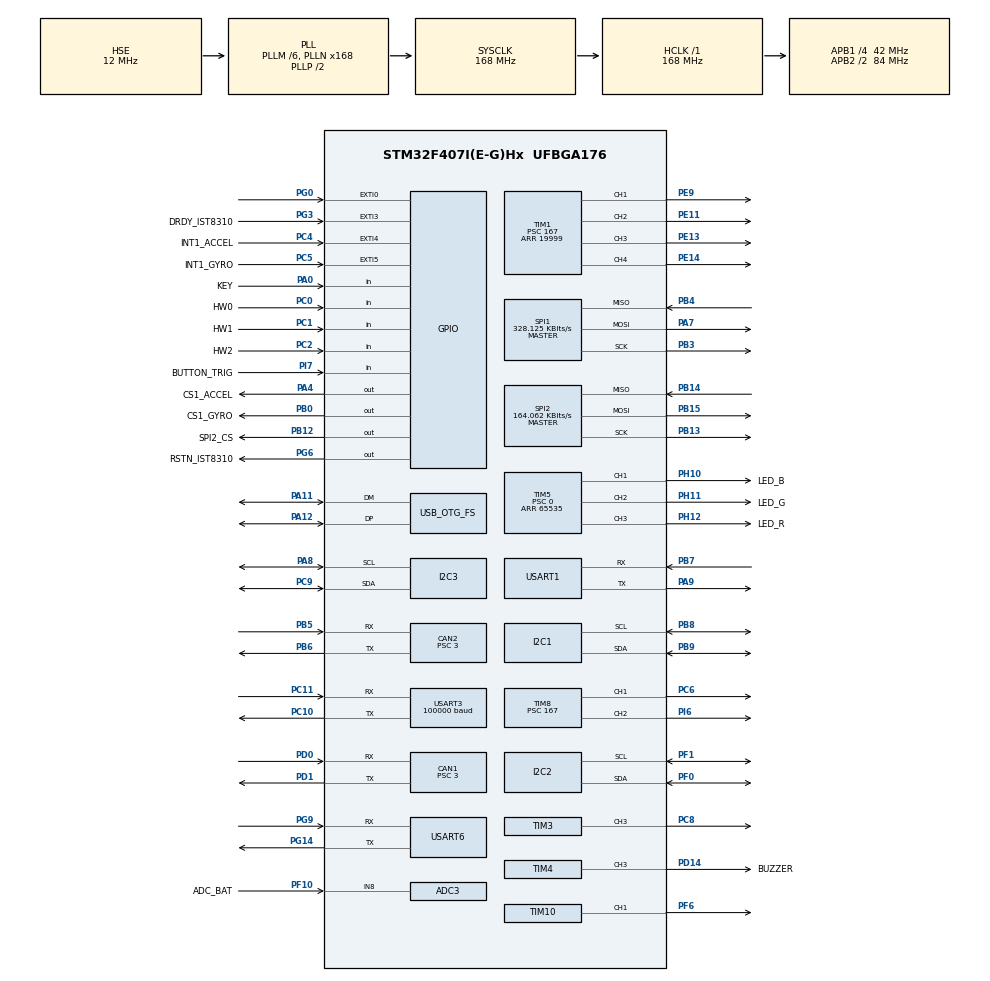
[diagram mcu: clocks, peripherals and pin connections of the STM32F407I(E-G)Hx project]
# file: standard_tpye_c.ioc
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ADC1.Channel-0\#ChannelRegularConversion=ADC_CHANNEL_TEMPSENSOR
ADC1.ClockPrescaler=ADC_CLOCK_SYNC_PCLK_DIV6
ADC1.NbrOfConversionFlag=1
ADC1.Rank-0\#ChannelRegularConversion=1
ADC1.SamplingTime-0\#ChannelRegularConversion=ADC_SAMPLETIME_3CYCLES
ADC1.master=1
ADC3.Channel-0\#ChannelRegularConversion=ADC_CHANNEL_8
ADC3.ClockPrescaler=ADC_CLOCK_SYNC_PCLK_DIV6
ADC3.NbrOfConversionFlag=1
ADC3.Rank-0\#ChannelRegularConversion=1
ADC3.SamplingTime-0\#ChannelRegularConversion=ADC_SAMPLETIME_3CYCLES
CAN1.BS1=CAN_BS1_10TQ
CAN1.BS2=CAN_BS2_3TQ
CAN1.CalculateBaudRate=1000000
CAN1.CalculateTimeQuantum=71.42857142857143
CAN1.Prescaler=3
CAN2.BS1=CAN_BS1_10TQ
CAN2.BS2=CAN_BS2_3TQ
CAN2.CalculateBaudRate=1000000
CAN2.CalculateTimeQuantum=71.42857142857143
CAN2.Prescaler=3
Dma.I2C2_TX.2.Direction=DMA_MEMORY_TO_PERIPH
Dma.I2C2_TX.2.FIFOMode=DMA_FIFOMODE_DISABLE
Dma.I2C2_TX.2.Instance=DMA1_Stream7
Dma.I2C2_TX.2.MemDataAlignment=DMA_MDATAALIGN_BYTE
Dma.I2C2_TX.2.MemInc=DMA_MINC_ENABLE
Dma.I2C2_TX.2.Mode=DMA_NORMAL
Dma.I2C2_TX.2.PeriphDataAlignment=DMA_PDATAALIGN_BYTE
Dma.I2C2_TX.2.PeriphInc=DMA_PINC_DISABLE
Dma.I2C2_TX.2.Priority=DMA_PRIORITY_HIGH
Dma.Request0=SPI1_RX
Dma.Request1=SPI1_TX
Dma.Request2=I2C2_TX
Dma.Request3=USART3_RX
Dma.Request4=USART6_RX
Dma.Request5=USART6_TX
Dma.Request6=USART1_RX
Dma.Request7=USART1_TX
Dma.SPI1_RX.0.Direction=DMA_PERIPH_TO_MEMORY
Dma.SPI1_RX.0.FIFOMode=DMA_FIFOMODE_DISABLE
Dma.SPI1_RX.0.Instance=DMA2_Stream2
Dma.SPI1_RX.0.MemDataAlignment=DMA_MDATAALIGN_BYTE
Dma.SPI1_RX.0.MemInc=DMA_MINC_ENABLE
Dma.SPI1_RX.0.Mode=DMA_NORMAL
Dma.SPI1_RX.0.PeriphDataAlignment=DMA_PDATAALIGN_BYTE
Dma.SPI1_RX.0.PeriphInc=DMA_PINC_DISABLE
Dma.SPI1_RX.0.Priority=DMA_PRIORITY_VERY_HIGH
Dma.SPI1_TX.1.Direction=DMA_MEMORY_TO_PERIPH
Dma.SPI1_TX.1.FIFOMode=DMA_FIFOMODE_DISABLE
Dma.SPI1_TX.1.Instance=DMA2_Stream3
Dma.SPI1_TX.1.MemDataAlignment=DMA_MDATAALIGN_BYTE
Dma.SPI1_TX.1.MemInc=DMA_MINC_ENABLE
Dma.SPI1_TX.1.Mode=DMA_NORMAL
Dma.SPI1_TX.1.PeriphDataAlignment=DMA_PDATAALIGN_BYTE
Dma.SPI1_TX.1.PeriphInc=DMA_PINC_DISABLE
Dma.SPI1_TX.1.Priority=DMA_PRIORITY_HIGH
Dma.USART1_RX.6.Direction=DMA_PERIPH_TO_MEMORY
Dma.USART1_RX.6.FIFOMode=DMA_FIFOMODE_DISABLE
Dma.USART1_RX.6.Instance=DMA2_Stream5
Dma.USART1_RX.6.MemDataAlignment=DMA_MDATAALIGN_BYTE
Dma.USART1_RX.6.MemInc=DMA_MINC_ENABLE
Dma.USART1_RX.6.Mode=DMA_NORMAL
Dma.USART1_RX.6.PeriphDataAlignment=DMA_PDATAALIGN_BYTE
Dma.USART1_RX.6.PeriphInc=DMA_PINC_DISABLE
Dma.USART1_RX.6.Priority=DMA_PRIORITY_LOW
Dma.USART1_TX.7.Direction=DMA_MEMORY_TO_PERIPH
Dma.USART1_TX.7.FIFOMode=DMA_FIFOMODE_DISABLE
Dma.USART1_TX.7.Instance=DMA2_Stream7
Dma.USART1_TX.7.MemDataAlignment=DMA_MDATAALIGN_BYTE
Dma.USART1_TX.7.MemInc=DMA_MINC_ENABLE
Dma.USART1_TX.7.Mode=DMA_NORMAL
Dma.USART1_TX.7.PeriphDataAlignment=DMA_PDATAALIGN_BYTE
Dma.USART1_TX.7.PeriphInc=DMA_PINC_DISABLE
Dma.USART1_TX.7.Priority=DMA_PRIORITY_LOW
Dma.USART3_RX.3.Direction=DMA_PERIPH_TO_MEMORY
Dma.USART3_RX.3.FIFOMode=DMA_FIFOMODE_DISABLE
Dma.USART3_RX.3.Instance=DMA1_Stream1
Dma.USART3_RX.3.MemDataAlignment=DMA_MDATAALIGN_BYTE
Dma.USART3_RX.3.MemInc=DMA_MINC_ENABLE
Dma.USART3_RX.3.Mode=DMA_NORMAL
Dma.USART3_RX.3.PeriphDataAlignment=DMA_PDATAALIGN_BYTE
Dma.USART3_RX.3.PeriphInc=DMA_PINC_DISABLE
Dma.USART3_RX.3.Priority=DMA_PRIORITY_HIGH
Dma.USART6_RX.4.Direction=DMA_PERIPH_TO_MEMORY
Dma.USART6_RX.4.FIFOMode=DMA_FIFOMODE_DISABLE
Dma.USART6_RX.4.Instance=DMA2_Stream1
Dma.USART6_RX.4.MemDataAlignment=DMA_MDATAALIGN_BYTE
Dma.USART6_RX.4.MemInc=DMA_MINC_ENABLE
Dma.USART6_RX.4.Mode=DMA_NORMAL
Dma.USART6_RX.4.PeriphDataAlignment=DMA_PDATAALIGN_BYTE
Dma.USART6_RX.4.PeriphInc=DMA_PINC_DISABLE
Dma.USART6_RX.4.Priority=DMA_PRIORITY_HIGH
Dma.USART6_TX.5.Direction=DMA_MEMORY_TO_PERIPH
Dma.USART6_TX.5.FIFOMode=DMA_FIFOMODE_DISABLE
Dma.USART6_TX.5.Instance=DMA2_Stream6
Dma.USART6_TX.5.MemDataAlignment=DMA_MDATAALIGN_BYTE
Dma.USART6_TX.5.MemInc=DMA_MINC_ENABLE
Dma.USART6_TX.5.Mode=DMA_NORMAL
Dma.USART6_TX.5.PeriphDataAlignment=DMA_PDATAALIGN_BYTE
Dma.USART6_TX.5.PeriphInc=DMA_PINC_DISABLE
Dma.USART6_TX.5.Priority=DMA_PRIORITY_MEDIUM
FREERTOS.INCLUDE_eTaskGetState=1
FREERTOS.INCLUDE_pcTaskGetTaskName=1
FREERTOS.INCLUDE_uxTaskGetStackHighWaterMark=1
FREERTOS.INCLUDE_vTaskCleanUpResources=1
FREERTOS.INCLUDE_vTaskDelayUntil=1
FREERTOS.INCLUDE_xEventGroupSetBitFromISR=1
FREERTOS.INCLUDE_xQueueGetMutexHolder=1
FREERTOS.INCLUDE_xSemaphoreGetMutexHolder=1
FREERTOS.INCLUDE_xTaskAbortDelay=1
FREERTOS.INCLUDE_xTaskGetCurrentTaskHandle=1
FREERTOS.INCLUDE_xTaskGetHandle=1
FREERTOS.INCLUDE_xTimerPendFunctionCall=1
FREERTOS.Tasks01=test,24,128,test_task,As weak,NULL,Dynamic,NULL,NULL
FREERTOS.configTOTAL_HEAP_SIZE=24576
I2C1.I2C_Mode=I2C_Fast
I2C2.I2C_Mode=I2C_Fast
I2C3.I2C_Mode=I2C_Fast
Mcu.Family=STM32F4
Mcu.Name=STM32F407I(E-G)Hx
Mcu.Package=UFBGA176
NVIC.CAN1_RX0_IRQn=true\:6\:0\:true\:false\:true\:true\:true\:true\:true
NVIC.CAN2_RX0_IRQn=true\:6\:0\:true\:false\:true\:true\:true\:true\:true
NVIC.DMA1_Stream1_IRQn=true\:5\:0\:true\:false\:false\:true\:false\:false\:true
NVIC.DMA1_Stream7_IRQn=true\:5\:0\:true\:false\:false\:true\:false\:true\:true
NVIC.DMA2_Stream1_IRQn=true\:5\:0\:true\:false\:true\:true\:false\:true\:true
NVIC.DMA2_Stream2_IRQn=true\:5\:0\:true\:false\:false\:true\:false\:true\:true
NVIC.DMA2_Stream3_IRQn=true\:5\:0\:true\:false\:false\:true\:false\:true\:true
NVIC.DMA2_Stream5_IRQn=true\:5\:0\:false\:false\:true\:true\:false\:true\:true
NVIC.DMA2_Stream6_IRQn=true\:5\:0\:true\:false\:true\:true\:false\:true\:true
NVIC.DMA2_Stream7_IRQn=true\:5\:0\:false\:false\:true\:true\:false\:true\:true
NVIC.EXTI0_IRQn=true\:6\:0\:true\:false\:true\:true\:true\:true\:true
NVIC.EXTI3_IRQn=true\:5\:0\:true\:false\:true\:true\:true\:true\:true
NVIC.EXTI4_IRQn=true\:5\:0\:true\:false\:true\:true\:true\:true\:true
NVIC.EXTI9_5_IRQn=true\:5\:0\:true\:false\:true\:true\:true\:true\:true
NVIC.OTG_FS_IRQn=true\:5\:0\:false\:false\:true\:true\:false\:true\:true
NVIC.PriorityGroup=NVIC_PRIORITYGROUP_4
NVIC.USART1_IRQn=true\:5\:0\:false\:false\:true\:true\:true\:true\:true
NVIC.USART3_IRQn=true\:4\:0\:true\:false\:false\:false\:true\:true\:true
NVIC.USART6_IRQn=true\:5\:0\:true\:false\:false\:true\:true\:true\:true
PA0-WKUP.GPIO_Label=KEY
PA0-WKUP.GPIO_PuPd=GPIO_PULLUP
PA0-WKUP.Signal=GPIO_Input
PA11.Mode=Device_Only
PA11.Signal=USB_OTG_FS_DM
PA12.Mode=Device_Only
PA12.Signal=USB_OTG_FS_DP
PA13.Mode=Serial_Wire
PA13.Signal=SYS_JTMS-SWDIO
PA14.Mode=Serial_Wire
PA14.Signal=SYS_JTCK-SWCLK
PA4.GPIO_Label=CS1_ACCEL
PA4.GPIO_PuPd=GPIO_PULLUP
PA4.GPIO_Speed=GPIO_SPEED_FREQ_HIGH
PA4.PinState=GPIO_PIN_SET
PA4.Signal=GPIO_Output
PA7.GPIO_PuPd=GPIO_PULLUP
PA7.Mode=Full_Duplex_Master
PA7.Signal=SPI1_MOSI
PA8.GPIO_Pu=GPIO_PULLUP
PA8.Mode=I2C
PA8.Signal=I2C3_SCL
PA9.Mode=Asynchronous
PA9.Signal=USART1_TX
PB0.GPIO_Label=CS1_GYRO
PB0.GPIO_PuPd=GPIO_PULLUP
PB0.GPIO_Speed=GPIO_SPEED_FREQ_HIGH
PB0.PinState=GPIO_PIN_SET
PB0.Signal=GPIO_Output
PB12.GPIO_Label=SPI2_CS
PB12.GPIO_PuPd=GPIO_PULLUP
PB12.GPIO_Speed=GPIO_SPEED_FREQ_MEDIUM
PB12.PinState=GPIO_PIN_SET
PB12.Signal=GPIO_Output
PB13.GPIO_PuPd=GPIO_PULLUP
PB13.Mode=Full_Duplex_Master
PB13.Signal=SPI2_SCK
PB14.GPIO_PuPd=GPIO_PULLUP
PB14.Mode=Full_Duplex_Master
PB14.Signal=SPI2_MISO
PB15.GPIO_PuPd=GPIO_PULLUP
PB15.Mode=Full_Duplex_Master
PB15.Signal=SPI2_MOSI
PB3.GPIO_PuPd=GPIO_PULLUP
PB3.Mode=Full_Duplex_Master
PB3.Signal=SPI1_SCK
PB4.GPIO_PuPd=GPIO_PULLUP
PB4.Mode=Full_Duplex_Master
PB4.Signal=SPI1_MISO
PB5.Mode=CAN_Activate
PB5.Signal=CAN2_RX
PB6.Mode=CAN_Activate
PB6.Signal=CAN2_TX
PB7.Mode=Asynchronous
PB7.Signal=USART1_RX
PB8.GPIO_Pu=GPIO_PULLUP
PB8.Mode=I2C
PB8.Signal=I2C1_SCL
PB9.GPIO_Pu=GPIO_PULLUP
PB9.Mode=I2C
PB9.Signal=I2C1_SDA
PC0.GPIO_Label=HW0
PC0.Signal=GPIO_Input
PC1.GPIO_Label=HW1
PC1.Signal=GPIO_Input
PC10.Mode=Asynchronous
PC10.Signal=USART3_TX
PC11.Mode=Asynchronous
PC11.Signal=USART3_RX
PC2.GPIO_Label=HW2
PC2.Signal=GPIO_Input
PC4.GPIO_Label=INT1_ACCEL
PC4.GPIO_ModeDefaultEXTI=GPIO_MODE_IT_FALLING
PC4.GPIO_PuPd=GPIO_PULLUP
PC4.Signal=GPXTI4
PC5.GPIO_Label=INT1_GYRO
PC5.GPIO_ModeDefaultEXTI=GPIO_MODE_IT_FALLING
PC5.GPIO_PuPd=GPIO_PULLUP
PC5.Signal=GPXTI5
PC6.GPIO_PuPd=GPIO_PULLUP
PC6.GPIO_Speed=GPIO_SPEED_FREQ_HIGH
PC6.Signal=S_TIM8_CH1
PC8.GPIO_PuPd=GPIO_PULLUP
PC8.GPIO_Speed=GPIO_SPEED_FREQ_HIGH
PC8.Signal=S_TIM3_CH3
PC9.GPIO_Pu=GPIO_PULLUP
PC9.Mode=I2C
PC9.Signal=I2C3_SDA
PD0.Mode=CAN_Activate
PD0.Signal=CAN1_RX
PD1.Mode=CAN_Activate
PD1.Signal=CAN1_TX
PD14.GPIO_Label=BUZZER
PD14.GPIO_PuPd=GPIO_PULLUP
PD14.GPIO_Speed=GPIO_SPEED_FREQ_VERY_HIGH
PD14.Signal=S_TIM4_CH3
PE11.GPIO_PuPd=GPIO_PULLUP
PE11.GPIO_Speed=GPIO_SPEED_FREQ_HIGH
PE11.Signal=S_TIM1_CH2
PE13.GPIO_PuPd=GPIO_PULLUP
PE13.GPIO_Speed=GPIO_SPEED_FREQ_HIGH
PE13.Signal=S_TIM1_CH3
PE14.GPIO_PuPd=GPIO_PULLUP
PE14.GPIO_Speed=GPIO_SPEED_FREQ_HIGH
PE14.Signal=S_TIM1_CH4
PE9.GPIO_PuPd=GPIO_PULLUP
PE9.GPIO_Speed=GPIO_SPEED_FREQ_HIGH
PE9.Signal=S_TIM1_CH1
PF0.GPIO_Pu=GPIO_PULLUP
PF0.Mode=I2C
PF0.Signal=I2C2_SDA
PF1.GPIO_Pu=GPIO_PULLUP
PF1.Mode=I2C
PF1.Signal=I2C2_SCL
PF10.GPIO_Label=ADC_BAT
PF10.Mode=IN8
PF10.Signal=ADC3_IN8
PF6.GPIO_PuPd=GPIO_PULLUP
PF6.GPIO_Speed=GPIO_SPEED_FREQ_HIGH
PF6.Signal=S_TIM10_CH1
PG0.GPIO_ModeDefaultEXTI=GPIO_MODE_IT_FALLING
PG0.GPIO_PuPd=GPIO_PULLUP
PG0.Signal=GPXTI0
PG14.Mode=Asynchronous
PG14.Signal=USART6_TX
PG3.GPIO_Label=DRDY_IST8310
PG3.GPIO_ModeDefaultEXTI=GPIO_MODE_IT_FALLING
PG3.GPIO_PuPd=GPIO_PULLUP
PG3.Signal=GPXTI3
PG6.GPIO_Label=RSTN_IST8310
PG6.GPIO_PuPd=GPIO_PULLUP
PG6.GPIO_Speed=GPIO_SPEED_FREQ_MEDIUM
PG6.PinState=GPIO_PIN_SET
PG6.Signal=GPIO_Output
PG9.Mode=Asynchronous
PG9.Signal=USART6_RX
PH0-OSC_IN.Mode=HSE-External-Oscillator
PH0-OSC_IN.Signal=RCC_OSC_IN
PH1-OSC_OUT.Mode=HSE-External-Oscillator
PH1-OSC_OUT.Signal=RCC_OSC_OUT
PH10.GPIO_Label=LED_B
PH10.GPIO_PuPd=GPIO_PULLUP
PH10.GPIO_Speed=GPIO_SPEED_FREQ_HIGH
PH10.Signal=S_TIM5_CH1
PH11.GPIO_Label=LED_G
PH11.GPIO_PuPd=GPIO_PULLUP
PH11.GPIO_Speed=GPIO_SPEED_FREQ_HIGH
PH11.Signal=S_TIM5_CH2
PH12.GPIO_Label=LED_R
PH12.GPIO_PuPd=GPIO_PULLUP
PH12.GPIO_Speed=GPIO_SPEED_FREQ_HIGH
PH12.Signal=S_TIM5_CH3
PI6.GPIO_PuPd=GPIO_PULLUP
PI6.GPIO_Speed=GPIO_SPEED_FREQ_HIGH
PI6.Signal=S_TIM8_CH2
PI7.GPIO_Label=BUTTON_TRIG
PI7.GPIO_PuPd=GPIO_PULLUP
PI7.Signal=GPIO_Input
ProjectManager.HeapSize=0x2000
ProjectManager.StackSize=0x2000
ProjectManager.TargetToolchain=MDK-ARM V5
RCC.48MHZClocksFreq_Value=48000000
RCC.AHBFreq_Value=168000000
RCC.APB1CLKDivider=RCC_HCLK_DIV4
RCC.APB1Freq_Value=42000000
RCC.APB1TimFreq_Value=84000000
RCC.APB2CLKDivider=RCC_HCLK_DIV2
RCC.APB2Freq_Value=84000000
RCC.APB2TimFreq_Value=168000000
RCC.CortexFreq_Value=168000000
RCC.HCLKFreq_Value=168000000
RCC.HSE_VALUE=12000000
RCC.HSI_VALUE=16000000
RCC.LSE_VALUE=32768
RCC.PLLM=6
RCC.PLLN=168
RCC.PLLQ=7
RCC.RCC_RTC_Clock_SourceVirtual=RCC_RTCCLKSOURCE_HSE_DIV30
RCC.RCC_RTC_Clock_Source_FROM_HSE=RCC_RTCCLKSOURCE_HSE_DIV30
RCC.SYSCLKFreq_VALUE=168000000
RCC.SYSCLKSource=RCC_SYSCLKSOURCE_PLLCLK
RCC.VCOOutputFreq_Value=336000000
RTC.AsynchPrediv=124
RTC.SynchPrediv=3199
SH.S_TIM10_CH1.0=TIM10_CH1,PWM Generation1 CH1
SH.S_TIM1_CH1.0=TIM1_CH1,PWM Generation1 CH1
SH.S_TIM1_CH2.0=TIM1_CH2,PWM Generation2 CH2
SH.S_TIM1_CH3.0=TIM1_CH3,PWM Generation3 CH3
SH.S_TIM1_CH4.0=TIM1_CH4,PWM Generation4 CH4
SH.S_TIM3_CH3.0=TIM3_CH3,PWM Generation3 CH3
SH.S_TIM4_CH3.0=TIM4_CH3,PWM Generation3 CH3
SH.S_TIM5_CH1.0=TIM5_CH1,PWM Generation1 CH1
SH.S_TIM5_CH2.0=TIM5_CH2,PWM Generation2 CH2
SH.S_TIM5_CH3.0=TIM5_CH3,PWM Generation3 CH3
SH.S_TIM8_CH1.0=TIM8_CH1,PWM Generation1 CH1
SH.S_TIM8_CH2.0=TIM8_CH2,PWM Generation2 CH2
SPI1.BaudRatePrescaler=SPI_BAUDRATEPRESCALER_256
SPI1.CLKPhase=SPI_PHASE_2EDGE
SPI1.CLKPolarity=SPI_POLARITY_HIGH
SPI1.CalculateBaudRate=328.125 KBits/s
SPI1.Direction=SPI_DIRECTION_2LINES
SPI1.Mode=SPI_MODE_MASTER
SPI1.VirtualType=VM_MASTER
SPI2.BaudRatePrescaler=SPI_BAUDRATEPRESCALER_256
SPI2.CLKPhase=SPI_PHASE_2EDGE
SPI2.CLKPolarity=SPI_POLARITY_HIGH
SPI2.CalculateBaudRate=164.062 KBits/s
SPI2.Direction=SPI_DIRECTION_2LINES
SPI2.Mode=SPI_MODE_MASTER
SPI2.VirtualType=VM_MASTER
TIM1.Channel-PWM\ Generation1\ CH1=TIM_CHANNEL_1
TIM1.Channel-PWM\ Generation2\ CH2=TIM_CHANNEL_2
TIM1.Channel-PWM\ Generation3\ CH3=TIM_CHANNEL_3
TIM1.Channel-PWM\ Generation4\ CH4=TIM_CHANNEL_4
TIM1.Period=19999
TIM1.Prescaler=167
TIM1.Pulse-PWM\ Generation1\ CH1=1000
TIM1.Pulse-PWM\ Generation2\ CH2=1000
TIM1.Pulse-PWM\ Generation3\ CH3=1000
TIM1.Pulse-PWM\ Generation4\ CH4=1000
TIM10.Channel=TIM_CHANNEL_1
TIM10.Period=4999
TIM3.Channel-PWM\ Generation3\ CH3=TIM_CHANNEL_3
TIM3.Period=8399
TIM4.Channel-PWM\ Generation3\ CH3=TIM_CHANNEL_3
TIM4.Period=65535
TIM4.Prescaler=167
TIM5.Channel-PWM\ Generation1\ CH1=TIM_CHANNEL_1
TIM5.Channel-PWM\ Generation2\ CH2=TIM_CHANNEL_2
TIM5.Channel-PWM\ Generation3\ CH3=TIM_CHANNEL_3
TIM5.Period=65535
TIM5.Prescaler=0
TIM8.Channel-PWM\ Generation1\ CH1=TIM_CHANNEL_1
TIM8.Channel-PWM\ Generation2\ CH2=TIM_CHANNEL_2
TIM8.Period=19999
TIM8.Prescaler=167
TIM8.Pulse-PWM\ Generation1\ CH1=1000
TIM8.Pulse-PWM\ Generation2\ CH2=1000
USART1.VirtualMode=VM_ASYNC
USART3.BaudRate=100000
USART3.Parity=PARITY_EVEN
USART3.VirtualMode=VM_ASYNC
USART6.VirtualMode=VM_ASYNC
USB_DEVICE.CLASS_NAME_FS=CDC
USB_DEVICE.VirtualMode-CDC_FS=Cdc
USB_DEVICE.VirtualModeFS=Cdc_FS
USB_OTG_FS.VirtualMode=Device_Only
VP_ADC1_TempSens_Input.Mode=IN-TempSens
VP_ADC1_Vref_Input.Mode=IN-Vrefint
VP_CRC_VS_CRC.Mode=CRC_Activate
VP_FREERTOS_VS_CMSIS_V1.Mode=CMSIS_V1
VP_RNG_VS_RNG.Mode=RNG_Activate
VP_RTC_VS_RTC_Activate.Mode=RTC_Enabled
VP_TIM10_VS_ClockSourceINT.Mode=Enable_Timer
VP_TIM1_VS_ClockSourceINT.Mode=Internal
VP_TIM3_VS_ClockSourceINT.Mode=Internal
VP_TIM4_VS_ClockSourceINT.Mode=Internal
VP_TIM5_VS_ClockSourceINT.Mode=Internal
VP_TIM8_VS_ClockSourceINT.Mode=Internal
VP_USB_DEVICE_VS_USB_DEVICE_CDC_FS.Mode=CDC_FS
board=custom

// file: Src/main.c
/* USER CODE BEGIN Header */
/**
 ******************************************************************************
 * @file           : main.c
 * @brief          : Main program body
 ******************************************************************************
 * @attention
 *
 * <h2><center>&copy; Copyright (c) 2019 STMicroelectronics.
 * All rights reserved.</center></h2>
 *
 * This software component is licensed by ST under Ultimate Liberty license
 * SLA0044, the "License"; You may not use this file except in compliance with
 * the License. You may obtain a copy of the License at:
 *                             www.st.com/SLA0044
 *
 ******************************************************************************
 */
/* USER CODE END Header */
#include "main.h"
#include "cmsis_os.h"
#include "adc.h"
#include "can.h"
#include "crc.h"
#include "dma.h"
#include "i2c.h"
#include "rng.h"
#include "rtc.h"
#include "spi.h"
#include "tim.h"
#include "usart.h"
#include "usb_device.h"
#include "gpio.h"

/* USER CODE BEGIN Includes */
#include "bsp_can.h"
#include "bsp_delay.h"
#include "bsp_usart.h"
#include "remote_control.h"
#include "AutoGimbal.h"
#include "calibrate_task.h"
#include "chassis_task.h"
#include "detect_task.h"
#include "gimbal_task.h"
#include "INS_task.h"
#include "led_flow_task.h"
#include "oled_task.h"
#include "referee_usart_task.h"
#include "usb_task.h"
#include "voltage_task.h"
/* USER CODE END Includes */

void SystemClock_Config(void);
void MX_FREERTOS_Init(void);

int main(void)
{

  /* MCU Configuration--------------------------------------------------------*/

  /* Reset of all peripherals, Initializes the Flash interface and the Systick. */
  HAL_Init();

  /* Configure the system clock */
  SystemClock_Config();

  /* Initialize all configured peripherals */
  MX_GPIO_Init();
  MX_DMA_Init();
  MX_ADC1_Init();
  MX_ADC3_Init();
  MX_CAN1_Init();
  MX_CAN2_Init();
  MX_I2C1_Init();
  MX_SPI1_Init();
  MX_TIM4_Init();
  MX_TIM5_Init();
  MX_USART3_UART_Init();
  MX_TIM8_Init();
  MX_CRC_Init();
  MX_RNG_Init();
  MX_I2C2_Init();
  MX_I2C3_Init();
  MX_RTC_Init();
  MX_SPI2_Init();
  MX_TIM1_Init();
  MX_TIM3_Init();
  MX_TIM10_Init();
  MX_USART1_UART_Init();
  MX_USART6_UART_Init();
  /* USER CODE BEGIN 2 */
  can_filter_init();
  delay_init();
  // cali_param_init();
  remote_control_init();
  // AUTO_control_init();
  // usart1_tx_dma_init();
  /* USER CODE END 2 */

  /* Call init function for freertos objects (in cmsis_os2.c) */
  MX_FREERTOS_Init();

  /* Start scheduler */
  osKernelStart();

  /* We should never get here as control is now taken by the scheduler */

  /* Infinite loop */
  while (1)
  {

  }
}

void SystemClock_Config(void)
{
  RCC_OscInitTypeDef RCC_OscInitStruct = {0};
  RCC_ClkInitTypeDef RCC_ClkInitStruct = {0};

  /** Configure the main internal regulator output voltage
  */
  __HAL_RCC_PWR_CLK_ENABLE();
  __HAL_PWR_VOLTAGESCALING_CONFIG(PWR_REGULATOR_VOLTAGE_SCALE1);

  /** Initializes the RCC Oscillators according to the specified parameters
  * in the RCC_OscInitTypeDef structure.
  */
  RCC_OscInitStruct.OscillatorType = RCC_OSCILLATORTYPE_HSE;
  RCC_OscInitStruct.HSEState = RCC_HSE_ON;
  RCC_OscInitStruct.PLL.PLLState = RCC_PLL_ON;
  RCC_OscInitStruct.PLL.PLLSource = RCC_PLLSOURCE_HSE;
  RCC_OscInitStruct.PLL.PLLM = 6;
  RCC_OscInitStruct.PLL.PLLN = 168;
  RCC_OscInitStruct.PLL.PLLP = RCC_PLLP_DIV2;
  RCC_OscInitStruct.PLL.PLLQ = 7;
  if (HAL_RCC_OscConfig(&RCC_OscInitStruct) != HAL_OK)
  {
    Error_Handler();
  }

  /** Initializes the CPU, AHB and APB buses clocks
  */
  RCC_ClkInitStruct.ClockType = RCC_CLOCKTYPE_HCLK|RCC_CLOCKTYPE_SYSCLK
                              |RCC_CLOCKTYPE_PCLK1|RCC_CLOCKTYPE_PCLK2;
  RCC_ClkInitStruct.SYSCLKSource = RCC_SYSCLKSOURCE_PLLCLK;
  RCC_ClkInitStruct.AHBCLKDivider = RCC_SYSCLK_DIV1;
  RCC_ClkInitStruct.APB1CLKDivider = RCC_HCLK_DIV4;
  RCC_ClkInitStruct.APB2CLKDivider = RCC_HCLK_DIV2;

  if (HAL_RCC_ClockConfig(&RCC_ClkInitStruct, FLASH_LATENCY_5) != HAL_OK)
  {
    Error_Handler();
  }
}

void Error_Handler(void)
{
}

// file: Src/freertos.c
/* USER CODE BEGIN Header */
/**
  ******************************************************************************
  * File Name          : freertos.c
  * Description        : Code for freertos applications
  ******************************************************************************
  * @attention
  *
  * <h2><center>&copy; Copyright (c) 2019 STMicroelectronics.
  * All rights reserved.</center></h2>
  *
  * This software component is licensed by ST under Ultimate Liberty license
  * SLA0044, the "License"; You may not use this file except in compliance with
  * the License. You may obtain a copy of the License at:
  *                             www.st.com/SLA0044
  *
  ******************************************************************************
  */
/* USER CODE END Header */

#include "FreeRTOS.h"
#include "task.h"
#include "main.h"
#include "cmsis_os.h"

/* USER CODE BEGIN Includes */

#include "calibrate_task.h"
#include "chassis_task.h"
#include "detect_task.h"
#include "gimbal_task.h"
#include "INS_task.h"
#include "led_flow_task.h"
#include "oled_task.h"
#include "referee_usart_task.h"
#include "usb_task.h"
#include "voltage_task.h"
#include "servo_task.h"
#include "RM_UI.h"
/* USER CODE END Includes */

/* USER CODE BEGIN PTD */

osThreadId calibrate_tast_handle;
osThreadId chassisTaskHandle;
osThreadId detect_handle;
osThreadId gimbalTaskHandle;
osThreadId imuTaskHandle;
osThreadId led_RGB_flow_handle;
osThreadId oled_handle;
osThreadId referee_usart_task_handle;
osThreadId usb_task_handle;
osThreadId battery_voltage_handle;
osThreadId servo_task_handle;
osThreadId user_task_handle; //ui

/* USER CODE END PTD */

osThreadId testHandle;

void test_task(void const * argument);

extern void MX_USB_DEVICE_Init(void);
void MX_FREERTOS_Init(void); /* (MISRA C 2004 rule 8.1) */

/* GetIdleTaskMemory prototype (linked to static allocation support) */
void vApplicationGetIdleTaskMemory( StaticTask_t **ppxIdleTaskTCBBuffer, StackType_t **ppxIdleTaskStackBuffer, uint32_t *pulIdleTaskStackSize );

/* GetTimerTaskMemory prototype (linked to static allocation support) */
void vApplicationGetTimerTaskMemory( StaticTask_t **ppxTimerTaskTCBBuffer, StackType_t **ppxTimerTaskStackBuffer, uint32_t *pulTimerTaskStackSize );

/* USER CODE BEGIN GET_IDLE_TASK_MEMORY */
static StaticTask_t xIdleTaskTCBBuffer;
static StackType_t xIdleStack[configMINIMAL_STACK_SIZE];

void vApplicationGetIdleTaskMemory( StaticTask_t **ppxIdleTaskTCBBuffer, StackType_t **ppxIdleTaskStackBuffer, uint32_t *pulIdleTaskStackSize )
{
  *ppxIdleTaskTCBBuffer = &xIdleTaskTCBBuffer;
  *ppxIdleTaskStackBuffer = &xIdleStack[0];
  *pulIdleTaskStackSize = configMINIMAL_STACK_SIZE;
  /* place for user code */
}
/* USER CODE END GET_IDLE_TASK_MEMORY */

/* USER CODE BEGIN GET_TIMER_TASK_MEMORY */
static StaticTask_t xTimerTaskTCBBuffer;
static StackType_t xTimerStack[configTIMER_TASK_STACK_DEPTH];

void vApplicationGetTimerTaskMemory( StaticTask_t **ppxTimerTaskTCBBuffer, StackType_t **ppxTimerTaskStackBuffer, uint32_t *pulTimerTaskStackSize )
{
  *ppxTimerTaskTCBBuffer = &xTimerTaskTCBBuffer;
  *ppxTimerTaskStackBuffer = &xTimerStack[0];
  *pulTimerTaskStackSize = configTIMER_TASK_STACK_DEPTH;
  /* place for user code */
}
/* USER CODE END GET_TIMER_TASK_MEMORY */

void MX_FREERTOS_Init(void) {

  /* Create the thread(s) */
  /* definition and creation of test */
  osThreadDef(test, test_task, osPriorityNormal, 0, 128);
  testHandle = osThreadCreate(osThread(test), NULL);

  /* USER CODE BEGIN RTOS_THREADS */
  /* add threads, ... */
    osThreadDef(cali, calibrate_task, osPriorityNormal, 0, 512);//校准
    calibrate_tast_handle = osThreadCreate(osThread(cali), NULL);

//    osThreadDef(ChassisTask, chassis_task, osPriorityAboveNormal, 0, 512);//底盘
//    chassisTaskHandle = osThreadCreate(osThread(ChassisTask), NULL);

//    osThreadDef(DETECT, detect_task, osPriorityNormal, 0, 256);//裁判系统设备离线
//    detect_handle = osThreadCreate(osThread(DETECT), NULL);

    osThreadDef(gimbalTask, gimbal_task, osPriorityHigh, 0, 1024);//云台
    gimbalTaskHandle = osThreadCreate(osThread(gimbalTask), NULL);

    osThreadDef(imuTask, INS_task, osPriorityRealtime, 0, 1024);//姿态演算
    imuTaskHandle = osThreadCreate(osThread(imuTask), NULL);

    osThreadDef(led, led_RGB_flow_task, osPriorityNormal, 0, 256);//RGB检测
    led_RGB_flow_handle = osThreadCreate(osThread(led), NULL);

//osThreadDef(OLED, oled_task, osPriorityLow, 0, 256);//官方OLED
//oled_handle = osThreadCreate(osThread(OLED), NULL);

    osThreadDef(REFEREE, referee_usart_task, osPriorityNormal, 0, 128);//RM裁判系统数据处理
    referee_usart_task_handle = osThreadCreate(osThread(REFEREE), NULL);

//    osThreadDef(USBTask, usb_task, osPriorityNormal, 0, 128);//usb输出错误信息
//    usb_task_handle = osThreadCreate(osThread(USBTask), NULL);

    osThreadDef(BATTERY_VOLTAGE, battery_voltage_task, osPriorityNormal, 0, 128);//电源采样和计算电源百分比
    battery_voltage_handle = osThreadCreate(osThread(BATTERY_VOLTAGE), NULL);

//    osThreadDef(SERVO, servo_task, osPriorityNormal, 0, 128);//舵机任务
//    servo_task_handle = osThreadCreate(osThread(SERVO), NULL);

    osThreadDef(UI , user_task , osPriorityNormal, 0, 128);//UI界面
    user_task_handle = osThreadCreate(osThread(UI), NULL);

  /* USER CODE END RTOS_THREADS */

}

__weak void test_task(void const * argument)
{
  /* init code for USB_DEVICE */
  // MX_USB_DEVICE_Init();
  for(;;)
  {
    osDelay(1);
  }
}
